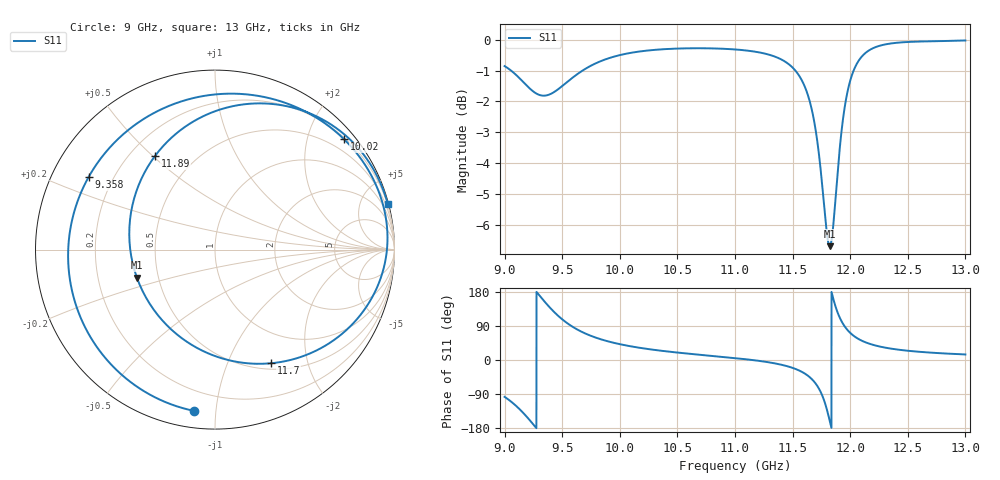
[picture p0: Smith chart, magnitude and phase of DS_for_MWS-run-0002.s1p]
! TOUCHSTONE file generated by CST DESIGN STUDIO
! Date and time: Tue Feb  4 17:57:22 2025
! Project name: C:\Work\MatlabApps\UnitCellOptimizationMatlab\CST\unitcell.cst
! Tree item: Tasks\Sweep1\SPara1\S-Parameters
! Header version: 2024
! Port assignment regex: !\s*Touchstone port\s*([0-9]+)\s*=\s*(CST MWS port|CST DES external port|CST DES block port)\s*(.+)\s* \(\"(.*)\"\)(\s*mode\s*([0-9]+))?.*
! Touchstone port assignment:
! Touchstone port 1 = CST DES external port 1 ("")
# GHz S MA R 50
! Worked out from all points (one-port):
!   4001 points, 9 GHz to 13 GHz, reference 50 ohm
!   lowest |S11| = -6.7 dB at 11.82 GHz (marker M1), VSWR 2.72, Z = 18.9 - j7.55 ohm
!   |S11| at or under -10 dB: nowhere
!   S11 on the Smith chart (normalised r, x): 9 GHz: 0.09, -0.88; 9.358 GHz: 0.11, +0.26; 10.02 GHz: 0.23, +2.69; 11.7 GHz: 0.57, -1.45; 11.89 GHz: 0.30, +0.51; 13 GHz: 0.08, +7.78
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9  0.9063 -97.3
9.11  0.8733 -123.9
9.216  0.8343 -158.1
9.285  0.8161 176.7
9.358  0.8119 150.2
9.428  0.8221 127.2
9.5  0.8412 107.3
9.597  0.8699 86.4
9.727  0.9029 66.5
10  0.9443 41.8
10.019  0.9461 40.5
10.5  0.9677 19.6
11  0.9645 5.0
11.295  0.9458 -6.2
11.5  0.9013 -20.8
11.617  0.8292 -38.0
11.704  0.706 -63.8
11.766  0.557 -100.3
11.793  0.4934 -125.7
11.822  0.4623 -160.1
11.856  0.5067 158.4
11.894  0.6194 122.7
11.942  0.7544 93.3
12  0.8581 71.6
12.077  0.9268 54.6
12.175  0.964 42.1
12.5  0.9918 24.4
13  0.9974 14.6
